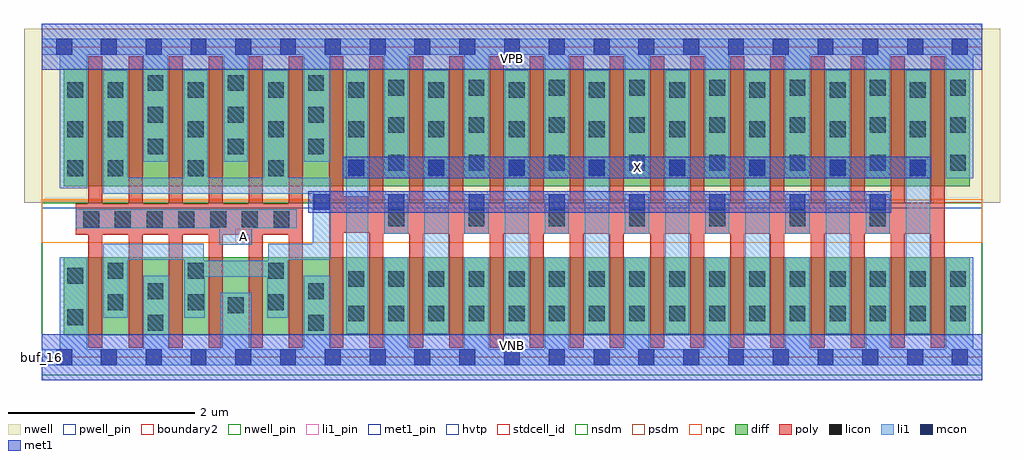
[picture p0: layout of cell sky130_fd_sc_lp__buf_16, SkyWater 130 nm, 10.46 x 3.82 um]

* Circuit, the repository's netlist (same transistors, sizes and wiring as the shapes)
* Copyright 2020 The SkyWater PDK Authors
*
* Licensed under the Apache License, Version 2.0 (the "License");
* you may not use this file except in compliance with the License.
* You may obtain a copy of the License at
*
*     https://www.apache.org/licenses/LICENSE-2.0
*
* Unless required by applicable law or agreed to in writing, software
* distributed under the License is distributed on an "AS IS" BASIS,
* WITHOUT WARRANTIES OR CONDITIONS OF ANY KIND, either express or implied.
* See the License for the specific language governing permissions and
* limitations under the License.
*
* SPDX-License-Identifier: Apache-2.0

.SUBCKT sky130_fd_sc_lp__buf_16 A VGND VNB VPB VPWR X
*.PININFO A:I VGND:I VNB:I VPB:I VPWR:I X:O
MMIN1 Ab A VGND VNB sky130_fd_pr__nfet_01v8 m=6 w=0.84U l=0.15U mult=1 sa=0.265
+ sb=0.265 sd=0.28 area=0.063 perim=1.14
MMIN2 X Ab VGND VNB sky130_fd_pr__nfet_01v8 m=16 w=0.84U l=0.15U mult=1 sa=0.265
+ sb=0.265 sd=0.28 area=0.063 perim=1.14
MMIP1 Ab A VPWR VPB sky130_fd_pr__pfet_01v8_hvt m=6 w=1.26U l=0.15U mult=1 sa=0.265
+ sb=0.265 sd=0.28 area=0.063 perim=1.14
MMIP2 X Ab VPWR VPB sky130_fd_pr__pfet_01v8_hvt m=16 w=1.26U l=0.15U mult=1 sa=0.265
+ sb=0.265 sd=0.28 area=0.063 perim=1.14
.ENDS sky130_fd_sc_lp__buf_16

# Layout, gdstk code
import gdstk
lib = gdstk.Library(unit=1e-6, precision=1e-09)
def R(c, l, rs):  # rectangles x0, y0, x1, y1
    for r in rs: c.add(gdstk.rectangle(r[:2], r[2:], *l))
def A(c, l, x, y, w, h, nx, ny, dx, dy):  # array of equal rectangles
    R(c, l, [(x+i*dx, y+j*dy, x+i*dx+w, y+j*dy+h) for i in range(nx) for j in range(ny)])
def P(c, l, *ps):  # polygons
    for p in ps: c.add(gdstk.Polygon(p, *l))
nwell_pin = (64, 16)
nwell = (64, 20)
diff = (65, 20)
poly = (66, 20)
licon = (66, 44)
li1_pin = (67, 16)
li1 = (67, 20)
mcon = (67, 44)
met1_pin = (68, 16)
met1 = (68, 20)
hvtp = (78, 44)
stdcell_id = (81, 4)
nsdm = (93, 44)
psdm = (94, 20)
npc = (95, 20)
pwell_pin = (122, 16)
boundary2 = (236, 0)

sky130_fd_sc_lp__buf_16 = lib.new_cell('sky130_fd_sc_lp__buf_16')
R(sky130_fd_sc_lp__buf_16, nwell_pin, [(0,3.085,10.08,3.33)])
R(sky130_fd_sc_lp__buf_16, nwell, [(-0.19,1.655,10.27,3.52)])
R(sky130_fd_sc_lp__buf_16, diff, [(0.235,0.235,9.945,1.075), (0.235,1.835,9.945,3.095)])
P(sky130_fd_sc_lp__buf_16, poly, [(2.8,3.225),(2.65,3.225),(2.65,1.645),(2.37,1.645),(2.37,3.225),(2.22,3.225),(2.22,1.645),(1.94,1.645),(1.94,3.225),(1.79,3.225),(1.79,1.645),(1.51,1.645),(1.51,3.225),(1.36,3.225),(1.36,1.645),(1.08,1.645),(1.08,3.225),(0.93,3.225),(0.93,1.645),(0.65,1.645),(0.65,3.225),(0.5,3.225),(0.5,1.645),(0.365,1.645),(0.365,1.315),(0.5,1.315),(0.5,0.105),(0.65,0.105),(0.65,1.315),(0.93,1.315),(0.93,0.105),(1.08,0.105),(1.08,1.315),(1.36,1.315),(1.36,0.105),(1.51,0.105),(1.51,1.315),(1.79,1.315),(1.79,0.105),(1.94,0.105),(1.94,1.315),(2.22,1.315),(2.22,0.105),(2.37,0.105),(2.37,1.315),(2.65,1.315),(2.65,0.105),(2.8,0.105)],
  [(9.68,3.225),(9.53,3.225),(9.53,1.655),(9.25,1.655),(9.25,3.225),(9.1,3.225),(9.1,1.655),(8.82,1.655),(8.82,3.225),(8.67,3.225),(8.67,1.655),(8.39,1.655),(8.39,3.225),(8.24,3.225),(8.24,1.655),(7.96,1.655),(7.96,3.225),(7.81,3.225),(7.81,1.655),(7.53,1.655),(7.53,3.225),(7.38,3.225),(7.38,1.655),(7.1,1.655),(7.1,3.225),(6.95,3.225),(6.95,1.655),(6.67,1.655),(6.67,3.225),(6.52,3.225),(6.52,1.655),(6.24,1.655),(6.24,3.225),(6.09,3.225),(6.09,1.655),(5.81,1.655),(5.81,3.225),(5.66,3.225),(5.66,1.655),(5.38,1.655),(5.38,3.225),(5.23,3.225),(5.23,1.655),(4.95,1.655),(4.95,3.225),(4.8,3.225),(4.8,1.655),(4.52,1.655),(4.52,3.225),(4.37,3.225),(4.37,1.655),(4.09,1.655),(4.09,3.225),(3.94,3.225),(3.94,1.655),(3.66,1.655),(3.66,3.225),(3.51,3.225),(3.51,1.725),(3.23,1.725),(3.23,3.225),(3.08,3.225),(3.08,0.105),(3.23,0.105),(3.23,1.335),(3.51,1.335),(3.51,0.105),(3.66,0.105),(3.66,1.325),(3.94,1.325),(3.94,0.105),(4.09,0.105),(4.09,1.325),(4.37,1.325),(4.37,0.105),(4.52,0.105),(4.52,1.325),(4.8,1.325),(4.8,0.105),(4.95,0.105),(4.95,1.325),(5.23,1.325),(5.23,0.105),(5.38,0.105),(5.38,1.325),(5.66,1.325),(5.66,0.105),(5.81,0.105),(5.81,1.325),(6.09,1.325),(6.09,0.105),(6.24,0.105),(6.24,1.325),(6.52,1.325),(6.52,0.105),(6.67,0.105),(6.67,1.325),(6.95,1.325),(6.95,0.105),(7.1,0.105),(7.1,1.325),(7.38,1.325),(7.38,0.105),(7.53,0.105),(7.53,1.325),(7.81,1.325),(7.81,0.105),(7.96,0.105),(7.96,1.325),(8.24,1.325),(8.24,0.105),(8.39,0.105),(8.39,1.325),(8.67,1.325),(8.67,0.105),(8.82,0.105),(8.82,1.325),(9.1,1.325),(9.1,0.105),(9.25,0.105),(9.25,1.325),(9.53,1.325),(9.53,0.105),(9.68,0.105)])
A(sky130_fd_sc_lp__buf_16, licon, 3.285, 0.385, 0.17, 0.17, 16, 2, 0.43, 0.37)
A(sky130_fd_sc_lp__buf_16, licon, 0.705, 0.505, 0.17, 0.17, 3, 2, 0.86, 0.34)
A(sky130_fd_sc_lp__buf_16, licon, 0.445, 1.395, 0.17, 0.17, 7, 1, 0.34, 0)
A(sky130_fd_sc_lp__buf_16, licon, 3.715, 1.405, 0.17, 0.17, 7, 1, 0.86, 0)
A(sky130_fd_sc_lp__buf_16, licon, 0.275, 1.94, 0.17, 0.17, 1, 3, 0, 0.42)
A(sky130_fd_sc_lp__buf_16, licon, 0.705, 1.94, 0.17, 0.17, 11, 3, 0.86, 0.42)
A(sky130_fd_sc_lp__buf_16, licon, 3.715, 2, 0.17, 0.17, 8, 2, 0.86, 0.405)
A(sky130_fd_sc_lp__buf_16, licon, 1.135, 2.175, 0.17, 0.17, 3, 3, 0.86, 0.34)
A(sky130_fd_sc_lp__buf_16, licon, 3.715, 2.805, 0.17, 0.17, 8, 1, 0.86, 0)
R(sky130_fd_sc_lp__buf_16, licon, [(1.135,0.285,1.305,0.455), (2.855,0.285,3.025,0.455), (0.275,0.345,0.445,0.515), (1.995,0.475,2.165,0.645), (1.135,0.625,1.305,0.795), (2.855,0.625,3.025,0.795), (0.275,0.79,0.445,0.96)])
R(sky130_fd_sc_lp__buf_16, li1_pin, [(2.075,1.21,2.245,1.38)])
A(sky130_fd_sc_lp__buf_16, li1, 4.1, 0.255, 0.26, 2.82, 7, 1, 0.86, 0)
A(sky130_fd_sc_lp__buf_16, li1, 3.67, 1.325, 0.26, 0.425, 7, 1, 0.86, 0)
R(sky130_fd_sc_lp__buf_16, li1, [(3.265,0.255,3.5,3.075)])
P(sky130_fd_sc_lp__buf_16, li1, [(3.095,1.925),(2.64,1.925),(2.64,3.075),(2.38,3.075),(2.38,1.925),(1.78,1.925),(1.78,3.075),(1.52,3.075),(1.52,1.925),(0.92,1.925),(0.92,3.075),(0.66,3.075),(0.66,1.755),(2.905,1.755),(2.905,1.215),(2.425,1.215),(2.425,1.035),(1.735,1.035),(1.735,1.215),(0.66,1.215),(0.66,0.425),(0.92,0.425),(0.92,1.045),(1.53,1.045),(1.53,0.425),(1.745,0.425),(1.745,0.865),(2.415,0.865),(2.415,0.425),(2.64,0.425),(2.64,1.045),(3.095,1.045)],
  [(10.08,3.415),(0,3.415),(0,3.245),(0.195,3.245),(0.195,1.815),(0.49,1.815),(0.49,3.245),(1.09,3.245),(1.09,2.095),(1.35,2.095),(1.35,3.245),(1.95,3.245),(1.95,2.095),(2.21,2.095),(2.21,3.245),(2.81,3.245),(2.81,2.095),(3.095,2.095),(3.095,3.245),(3.67,3.245),(3.67,1.92),(3.93,1.92),(3.93,3.245),(4.53,3.245),(4.53,1.92),(4.79,1.92),(4.79,3.245),(5.39,3.245),(5.39,1.92),(5.65,1.92),(5.65,3.245),(6.25,3.245),(6.25,1.92),(6.51,1.92),(6.51,3.245),(7.11,3.245),(7.11,1.92),(7.37,1.92),(7.37,3.245),(7.97,3.245),(7.97,1.92),(8.23,1.92),(8.23,3.245),(8.83,3.245),(8.83,1.92),(9.09,1.92),(9.09,3.245),(9.69,3.245),(9.69,1.92),(9.985,1.92),(9.985,3.245),(10.08,3.245)],
  [(10.08,0.085),(9.985,0.085),(9.985,1.075),(9.69,1.075),(9.69,0.085),(9.09,0.085),(9.09,1.075),(8.83,1.075),(8.83,0.085),(8.23,0.085),(8.23,1.075),(7.97,1.075),(7.97,0.085),(7.37,0.085),(7.37,1.075),(7.11,1.075),(7.11,0.085),(6.51,0.085),(6.51,1.075),(6.25,1.075),(6.25,0.085),(5.65,0.085),(5.65,1.075),(5.39,1.075),(5.39,0.085),(4.79,0.085),(4.79,1.075),(4.53,1.075),(4.53,0.085),(3.93,0.085),(3.93,1.075),(3.67,1.075),(3.67,0.085),(3.095,0.085),(3.095,0.875),(2.81,0.875),(2.81,0.085),(2.245,0.085),(2.245,0.695),(1.915,0.695),(1.915,0.085),(1.36,0.085),(1.36,0.875),(1.09,0.875),(1.09,0.085),(0.49,0.085),(0.49,1.075),(0.195,1.075),(0.195,0.085),(0,0.085),(0,-0.085),(10.08,-0.085)],
  [(2.735,1.585),(0.365,1.585),(0.365,1.385),(1.905,1.385),(1.905,1.205),(2.255,1.205),(2.255,1.385),(2.735,1.385)])
A(sky130_fd_sc_lp__buf_16, mcon, 0.155, -0.085, 0.17, 0.17, 21, 2, 0.48, 3.33)
A(sky130_fd_sc_lp__buf_16, mcon, 3.715, 1.58, 0.17, 0.17, 7, 1, 0.86, 0)
A(sky130_fd_sc_lp__buf_16, mcon, 3.285, 1.95, 0.17, 0.17, 8, 1, 0.86, 0)
R(sky130_fd_sc_lp__buf_16, mcon, [(2.915,1.58,3.085,1.75)])
R(sky130_fd_sc_lp__buf_16, met1_pin, [(0,0,10.08,0.245), (3.225,1.92,9.535,2.15), (0,3.085,10.08,3.33)])
R(sky130_fd_sc_lp__buf_16, met1, [(0,-0.245,10.08,0.245), (2.855,1.55,9.105,1.78), (3.225,1.92,9.535,2.15), (0,3.085,10.08,3.575)])
R(sky130_fd_sc_lp__buf_16, hvtp, [(0,1.6,10.08,3.33)])
R(sky130_fd_sc_lp__buf_16, stdcell_id, [(0,0,10.08,3.33)])
R(sky130_fd_sc_lp__buf_16, nsdm, [(0,-0.19,10.08,1.655)])
P(sky130_fd_sc_lp__buf_16, psdm, [(10.08,3.52),(0,3.52),(0,1.675),(3.05,1.675),(3.05,1.685),(9.56,1.685),(9.56,1.655),(10.08,1.655)])
R(sky130_fd_sc_lp__buf_16, npc, [(0,1.23,10.08,1.695)])
R(sky130_fd_sc_lp__buf_16, pwell_pin, [(0,0,10.08,0.245)])
R(sky130_fd_sc_lp__buf_16, boundary2, [(0,0,10.08,3.33)])
sky130_fd_sc_lp__buf_16.add(gdstk.Label('VNB', (5.04,0.123), layer=64, texttype=59))
sky130_fd_sc_lp__buf_16.add(gdstk.Label('VPB', (5.04,3.208), layer=64, texttype=5))
sky130_fd_sc_lp__buf_16.add(gdstk.Label('buf_16', (0,0), layer=83, texttype=44))
sky130_fd_sc_lp__buf_16.add(gdstk.Label('VPWR', (5.04,3.208), layer=68, texttype=5))
sky130_fd_sc_lp__buf_16.add(gdstk.Label('VGND', (5.04,0.123), layer=68, texttype=5))
sky130_fd_sc_lp__buf_16.add(gdstk.Label('X', (6.38,2.035), layer=68, texttype=5))
sky130_fd_sc_lp__buf_16.add(gdstk.Label('A', (2.16,1.295), layer=67, texttype=5))

lib.write_gds('sky130_fd_sc_lp__buf_16.gds')
